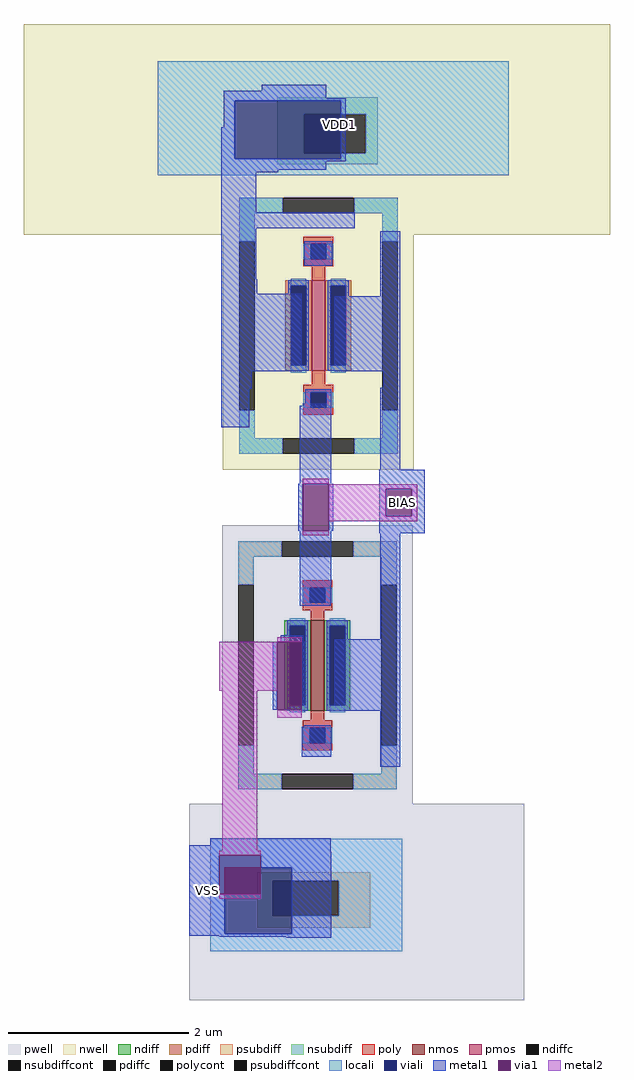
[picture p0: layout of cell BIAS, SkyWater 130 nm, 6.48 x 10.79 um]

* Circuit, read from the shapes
.subckt BIAS VSS VDD1 BIAS
XM1 n1 n1 VSS VSS sky130_fd_pr__nfet_01v8 w=1 l=0.15
XM2 n1 n1 VDD1 VDD1 sky130_fd_pr__pfet_01v8 w=1 l=0.15
.ends

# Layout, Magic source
magic
tech sky130A
magscale 1 2
<< nwell >>
rect 10 530 1306 996
<< pwell >>
rect 376 -1162 1116 -728
<< psubdiff >>
rect 526 -898 776 -880
rect 526 -976 560 -898
rect 706 -976 776 -898
rect 526 -1002 776 -976
<< nsubdiff >>
rect 570 796 792 834
rect 570 710 630 796
rect 766 710 792 796
rect 570 686 792 710
<< psubdiffcont >>
rect 560 -976 706 -898
<< nsubdiffcont >>
rect 630 710 766 796
<< locali >>
rect 306 826 1082 914
rect 306 698 476 826
rect 710 796 1082 826
rect 766 710 1082 796
rect 710 698 1082 710
rect 306 662 1082 698
rect 422 -868 846 -806
rect 422 -1016 454 -868
rect 536 -870 846 -868
rect 602 -898 846 -870
rect 706 -976 846 -898
rect 602 -1016 846 -976
rect 422 -1054 846 -1016
<< viali >>
rect 476 796 710 826
rect 476 710 630 796
rect 630 710 710 796
rect 476 698 710 710
rect 454 -870 536 -868
rect 454 -898 602 -870
rect 454 -976 560 -898
rect 560 -976 602 -898
rect 454 -1016 602 -976
<< metal1 >>
rect 536 848 678 862
rect 452 832 678 848
rect 452 826 722 832
rect 452 768 476 826
rect 446 698 476 768
rect 710 698 722 826
rect 446 692 722 698
rect 446 674 678 692
rect 446 668 572 674
rect 446 580 524 668
rect 446 544 742 580
rect 446 432 524 544
rect 630 462 692 516
rect 446 400 526 432
rect 446 228 624 400
rect 798 394 842 538
rect 696 228 842 394
rect 446 190 514 228
rect 804 192 842 228
rect 446 104 508 190
rect 626 152 688 156
rect 620 -20 690 152
rect 798 10 842 192
rect 616 -124 626 -20
rect 684 -124 694 -20
rect 796 -32 896 10
rect 796 -92 810 -32
rect 868 -92 896 -32
rect 620 -244 690 -124
rect 796 -130 896 -92
rect 620 -290 686 -244
rect 578 -370 628 -356
rect 798 -364 842 -130
rect 560 -520 570 -370
rect 624 -520 634 -370
rect 696 -522 842 -364
rect 624 -624 690 -558
rect 798 -646 842 -522
rect 422 -820 688 -804
rect 376 -834 688 -820
rect 376 -842 690 -834
rect 376 -928 442 -842
rect 534 -868 690 -842
rect 536 -870 690 -868
rect 376 -1016 454 -928
rect 602 -1016 690 -870
rect 376 -1020 690 -1016
rect 442 -1022 690 -1020
rect 590 -1024 690 -1022
<< via1 >>
rect 626 -124 684 -20
rect 810 -92 868 -32
rect 570 -520 624 -370
rect 442 -868 534 -842
rect 442 -928 454 -868
rect 454 -928 534 -868
<< metal2 >>
rect 626 -20 684 -10
rect 684 -32 880 -22
rect 684 -92 810 -32
rect 868 -92 880 -32
rect 684 -104 880 -92
rect 626 -134 684 -124
rect 570 -370 624 -360
rect 442 -478 570 -370
rect 448 -832 526 -478
rect 570 -538 624 -520
rect 442 -842 534 -832
rect 442 -938 534 -928
use sky130_fd_pr__nfet_01v8_V8CAV6  XM3
transform 1 0 659 0 1 -422
box -211 -310 211 310
use sky130_fd_pr__pfet_01v8_XUW9MZ  XM11
transform 1 0 661 0 1 329
box -211 -319 211 319
<< labels >>
flabel metal1 812 -110 882 -12 0 FreeSans 1600 0 0 0 BIAS
port 3 nsew
flabel nwell 428 684 988 862 0 FreeSans 1600 0 0 0 VDD1
port 1 nsew
flabel metal1 376 -1020 454 -820 0 FreeSans 256 0 0 0 VSS
port 0 nsew
<< end >>

# cell sky130_fd_pr__nfet_01v8_V8CAV6: kit device sky130_fd_pr__nfet_01v8, w 1.0 l 0.15 m 1 nf 1 diffcov 100 polycov 100 guard 1 glc 1 grc 1 gtc 1 gbc 1 tbcov 100 rlcov 100 topc 1 botc 1 poverlap 0 doverlap 1 lmin 0.15 wmin 0.42 class mosfet compatible {sky130_fd_pr__nfet_01v8 sky130_fd_pr__nfet_01v8_lvt sky130_fd_bs_flash__special_sonosfet_star sky130_fd_pr__nfet_g5v0d10v5 sky130_fd_pr__nfet_05v0_nvt sky130_fd_pr__nfet_03v3_nvt} full_metal 1 viasrc 100 viadrn 100 viagate 100 viagb 0 viagr 0 viagl 0 viagt 0

# cell sky130_fd_pr__pfet_01v8_XUW9MZ: kit device sky130_fd_pr__pfet_01v8, w 1.0 l 0.15 m 1 nf 1 diffcov 100 polycov 100 guard 1 glc 1 grc 1 gtc 1 gbc 1 tbcov 100 rlcov 100 topc 1 botc 1 poverlap 0 doverlap 1 lmin 0.15 wmin 0.42 class mosfet compatible {sky130_fd_pr__pfet_01v8 sky130_fd_pr__pfet_01v8_lvt sky130_fd_pr__pfet_01v8_hvt sky130_fd_pr__pfet_g5v0d10v5} full_metal 1 viasrc 100 viadrn 100 viagate 100 viagb 0 viagr 0 viagl 0 viagt 0
